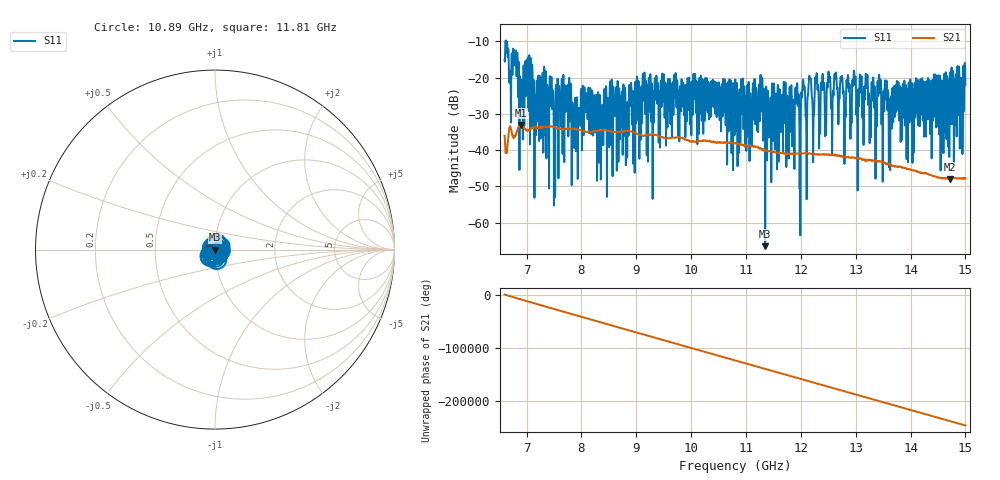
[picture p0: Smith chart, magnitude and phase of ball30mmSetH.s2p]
!Keysight Technologies,N5235B,MY61252044,A.15.00.15
!Date: Friday, January 20, 2023 20:04:55
!Correction: S11(Off)
!S21(Off)
!S12(Off)
!S22(Off)
!S2P File: Measurements: S11, S21, S12, S22:
# Hz S  RI  R 50
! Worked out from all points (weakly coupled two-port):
!   5000 points, 6.6 GHz to 15 GHz, reference 50 ohm
!   highest |S21| = -33.07 dB at 6.901 GHz (marker M1); lowest = -47.9 dB at 14.71 GHz (marker M2)
!   lowest |S11| = -66.5 dB at 11.35 GHz (marker M3), VSWR 1.00, Z = 50 - j0.007 ohm
!   |S11| at or under -10 dB: start of sweep to 6.61622 GHz; 6.621 GHz to end of sweep
!   S12 and S22 are empty: the file has one direction only
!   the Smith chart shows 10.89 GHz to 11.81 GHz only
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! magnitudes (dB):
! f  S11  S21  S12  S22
! 6.6 GHz  -15.1  -36.0  -  -
! 6.709 GHz  -21.1  -33.8  -  -
! 6.795 GHz  -16.0  -36.1  -  -
! 6.901 GHz  -27.6  -33.1  -  -
! 7.012 GHz  -22.4  -34.5  -  -
! 7.158 GHz  -25.0  -33.7  -  -
! 8.001 GHz  -25.6  -34.6  -  -
! 8.359 GHz  -35.1  -34.4  -  -
! 8.553 GHz  -20.5  -34.9  -  -
! 8.821 GHz  -26.9  -34.7  -  -
! 9.401 GHz  -23.7  -36.0  -  -
! 10.8 GHz  -21.1  -38.2  -  -
! 11.27 GHz  -19.2  -39.5  -  -
! 11.35 GHz  -66.5  -40.0  -  -
! 11.93 GHz  -21.6  -40.9  -  -
! 11.98 GHz  -40.3  -40.9  -  -
! 12.04 GHz  -20.6  -40.9  -  -
! 12.2 GHz  -25.2  -40.9  -  -
! 12.97 GHz  -18.1  -42.0  -  -
! 13.6 GHz  -30.0  -43.9  -  -
! 14.71 GHz  -21.1  -47.9  -  -
! 15 GHz  -22.1  -47.8  -  -
